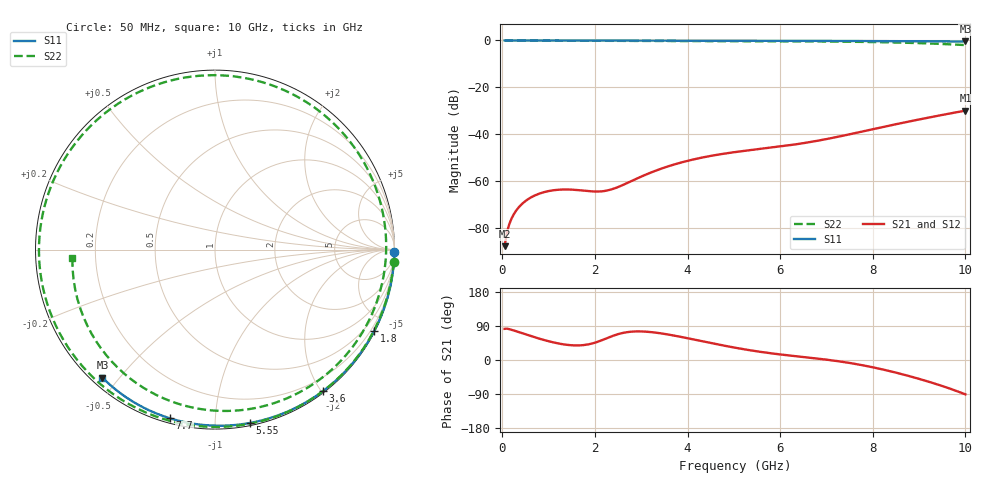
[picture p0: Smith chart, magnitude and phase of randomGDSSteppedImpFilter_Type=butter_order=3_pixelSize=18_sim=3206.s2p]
! freq	dB(S11)	phase(S11)	dB(S12)	phase(S12)
!  dB(S21)	phase(S21)	dB(S22)	phase(S22)
!S-par simulation data
#  GHz  S  DB  R 50
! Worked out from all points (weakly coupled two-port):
!   200 points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, 50 MHz to 10 GHz, reference 50 ohm
!   highest |S21| = -29.98 dB at 10 GHz (marker M1); lowest = -87.9 dB at 50 MHz (marker M2)
!   lowest |S11| = -0.4 dB at 10 GHz (marker M3), VSWR 39.00, Z = 1.54 - j22.6 ohm
!   |S11| at or under -10 dB: nowhere
!   |S22| runs from -2.0 to 0.0 dB; largest |S21 - S12| = 0
!   S11 on the Smith chart (normalised r, x): 50 MHz: open; 1.8 GHz: 0.04, -4.18; 3.6 GHz: 0.02, -2.02; 5.55 GHz: 0.02, -1.22; 7.7 GHz: 0.02, -0.77; 10 GHz: 0.03, -0.45
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0.05  -0.00 -0.7  -87.88 82.2  -87.88 82.2  -0.01 -3.9
0.1  -0.01 -1.5  -81.99 82.7  -81.99 82.7  -0.02 -7.7
0.45  -0.01 -6.8  -69.41 69.8  -69.41 69.8  -0.06 -33.6
0.9  -0.02 -13.6  -64.81 52.8  -64.81 52.8  -0.08 -65.6
1.3  -0.02 -19.5  -63.68 41.7  -63.68 41.7  -0.10 -91.9
1.75  -0.03 -26.2  -64.15 39.3  -64.15 39.3  -0.13 -119.1
1.8  -0.03 -26.9  -64.25 40.0  -64.25 40.0  -0.13 -122.0
2.6  -0.05 -38.5  -61.78 71.4  -61.78 71.4  -0.16 -164.7
3.4  -0.07 -49.8  -55.00 70.8  -55.00 70.8  -0.18 156.3
3.6  -0.07 -52.6  -53.66 66.8  -53.66 66.8  -0.19 146.9
4.35  -0.09 -62.9  -49.89 48.7  -49.89 48.7  -0.22 111.6
5.05  -0.11 -72.2  -47.62 31.9  -47.62 31.9  -0.26 78.6
5.55  -0.13 -78.6  -46.38 21.9  -46.38 21.9  -0.30 54.8
6.15  -0.15 -86.2  -44.90 12.6  -44.90 12.6  -0.35 26.4
6.7  -0.18 -93.0  -43.22 5.2  -43.22 5.2  -0.41 0.6
7.2  -0.21 -99.0  -41.34 -2.3  -41.34 -2.3  -0.49 -22.6
7.7  -0.24 -105.0  -39.23 -12.0  -39.23 -12.0  -0.60 -45.6
8.35  -0.29 -112.6  -36.42 -28.8  -36.42 -28.8  -0.81 -76.0
8.8  -0.33 -117.8  -34.56 -42.9  -34.56 -42.9  -1.03 -98.4
9.2  -0.36 -122.3  -32.97 -57.0  -32.97 -57.0  -1.27 -120.3
9.65  -0.41 -127.4  -31.25 -74.8  -31.25 -74.8  -1.64 -149.2
10  -0.45 -131.3  -29.98 -90.7  -29.98 -90.7  -1.98 -176.5
